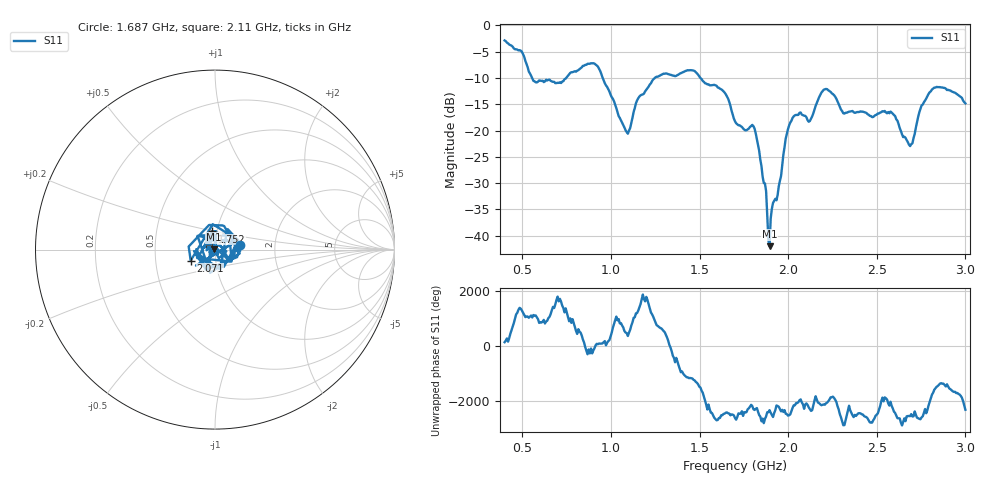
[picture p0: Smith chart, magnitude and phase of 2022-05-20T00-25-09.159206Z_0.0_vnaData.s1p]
!Created with skrf (http://scikit-rf.org).
# Hz S RI R 50.0
!freq ReS11 ImS11
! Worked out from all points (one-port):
!   401 points, 400 MHz to 3 GHz, reference 50 ohm
!   lowest |S11| = -42.0 dB at 1.895 GHz (marker M1), VSWR 1.02, Z = 49.2 + j0.107 ohm
!   |S11| at or under -10 dB: 555.1 MHz to 747.3 MHz (192.2 MHz wide, 29.5 % of centre); 953.6 MHz to 1.247 GHz (293.8 MHz wide, 26.7 % of centre); 1.505 GHz to end of sweep
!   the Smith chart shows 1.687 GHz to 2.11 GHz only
!   S11 on the Smith chart (normalised r, x): 1.687 GHz: 1.33, +0.06; 1.752 GHz: 0.95, +0.19; 2.071 GHz: 0.76, -0.09; 2.11 GHz: 1.29, +0.03
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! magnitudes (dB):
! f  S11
! 400 MHz  -2.9
! 497.5 MHz  -5.0
! 569 MHz  -10.6
! 725 MHz  -10.7
! 913.5 MHz  -7.4
! 1.05 GHz  -17.6
! 1.095 GHz  -20.6
! 1.154 GHz  -13.8
! 1.245 GHz  -10.1
! 1.375 GHz  -9.4
! 1.46 GHz  -8.5
! 1.622 GHz  -12.1
! 1.687 GHz  -16.9
! 1.7 GHz  -18.2
! 1.752 GHz  -19.8
! 1.817 GHz  -20.5
! 1.895 GHz  -42.0
! 1.947 GHz  -30.6
! 1.992 GHz  -20.6
! 2.025 GHz  -17.6
! 2.071 GHz  -16.6
! 2.11 GHz  -18.0
! 2.207 GHz  -12.1
! 2.35 GHz  -16.4
! 2.591 GHz  -16.8
! 2.675 GHz  -22.2
! 2.825 GHz  -11.8
! 3 GHz  -14.8
